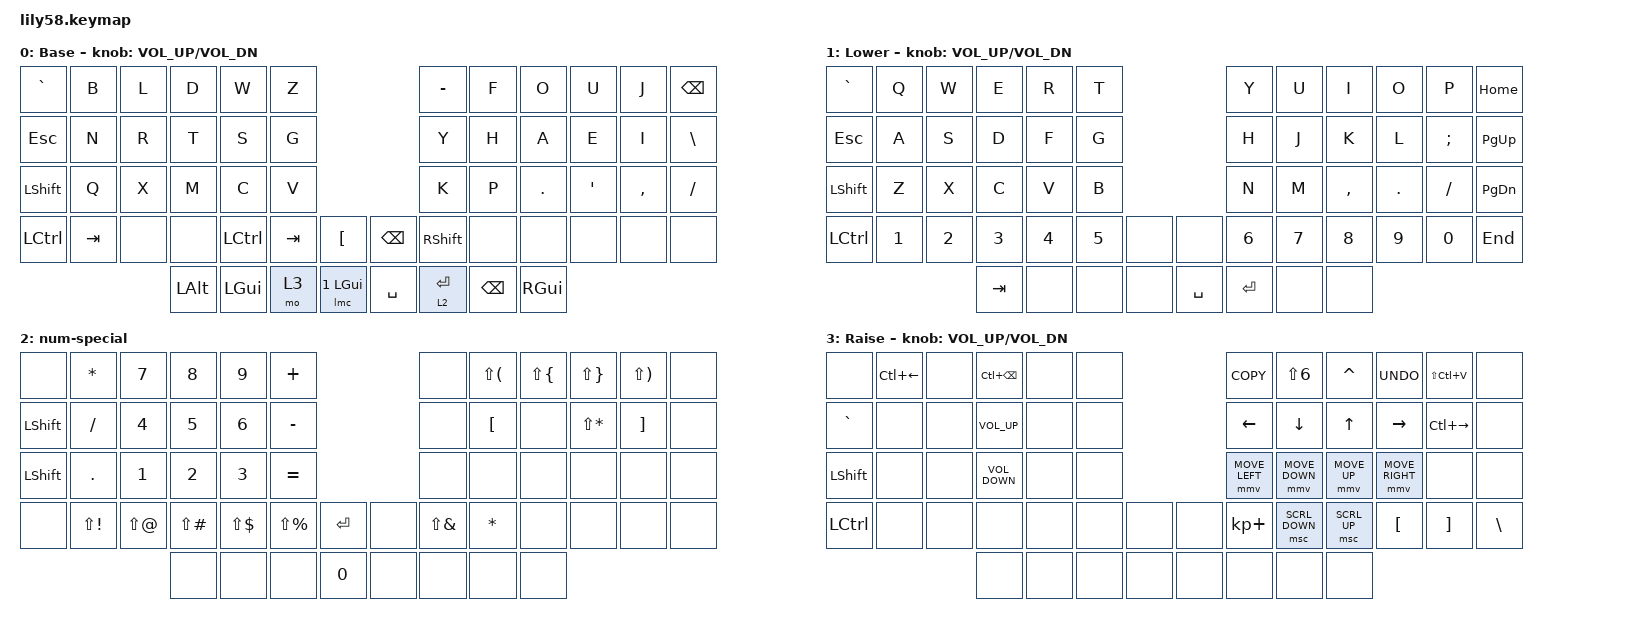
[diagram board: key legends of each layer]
/*
 * Copyright (c) 2020 The ZMK Contributors
 *
 * SPDX-License-Identifier: MIT
 */

#include <behaviors.dtsi>
#include <dt-bindings/zmk/keys.h>
#include <dt-bindings/zmk/pointing.h>

/ {
    macros {
        LM: lm {
            compatible = "zmk,behavior-macro-two-param";
            wait-ms = <0>;
            tap-ms = <0>;
            #binding-cells = <2>;
            bindings =
                <&macro_param_1to1>,
                <&macro_press>,
                <&mo MACRO_PLACEHOLDER &macro_param_2to1>,
                <&macro_press>,
                <&kp MACRO_PLACEHOLDER>,
                <&macro_pause_for_release>,
                <&macro_param_2to1>,
                <&macro_release>,
                <&kp MACRO_PLACEHOLDER &macro_param_1to1>,
                <&macro_release>,
                <&mo MACRO_PLACEHOLDER>;
        };

        lmc: lmc {
            compatible = "zmk,behavior-macro-two-param";
            wait-ms = <0>;
            tap-ms = <0>;
            #binding-cells = <2>;
            bindings =
                <&macro_param_1to1>,
                <&macro_press>,
                <&mo MACRO_PLACEHOLDER &macro_param_2to1>,
                <&macro_press>,
                <&kp MACRO_PLACEHOLDER>,
                <&macro_pause_for_release>,
                <&macro_param_2to1>,
                <&macro_release>,
                <&kp MACRO_PLACEHOLDER &macro_param_1to1>,
                <&macro_release>,
                <&mo MACRO_PLACEHOLDER>;
        };
    };
};

/ {
    combos {
        compatible = "zmk,combos";

        colon {
            bindings = <&kp COLON>;
            key-positions = <32 33>;
        };

        semicolon {
            bindings = <&kp SEMICOLON>;
            key-positions = <32 34>;
        };
    };

    keymap {
        compatible = "zmk,keymap";

        base {
            // ------------------------------------------------------------------------------------------------------------
            // |  ESC  |  1  |  2  |  3   |  4   |  5   |                   |  6   |  7    |  8    |  9   |   0   |   `   |
            // |  TAB  |  Q  |  W  |  E   |  R   |  T   |                   |  Y   |  U    |  I    |  O   |   P   |   -   |
            // |  CTRL |  A  |  S  |  D   |  F   |  G   |                   |  H   |  J    |  K    |  L   |   ;   |   '   |
            // | SHIFT |  Z  |  X  |  C   |  V   |  B   |   "["  |  |  "]"  |  N   |  M    |  ,    |  .   |   /   | SHIFT |
            //                     | ALT  | GUI  | LOWER|  SPACE |  | ENTER | RAISE| BSPC  | GUI   |

            display-name = "Base";
            bindings = <
&kp GRAVE       &kp B    &kp L  &kp D     &kp W             &kp Z                                      &kp MINUS        &kp F     &kp O       &kp U    &kp J      &kp BACKSPACE
&kp ESCAPE      &kp N    &kp R  &kp T     &kp S             &kp G                                      &kp Y            &kp H     &kp A       &kp E    &kp I      &kp BACKSLASH
&kp LEFT_SHIFT  &kp Q    &kp X  &kp M     &kp C             &kp V                                      &kp K            &kp P     &kp PERIOD  &kp SQT  &kp COMMA  &kp SLASH
&kp LCTRL       &kp TAB  &none  &none     &kp LEFT_CONTROL  &kp TAB  &kp LBKT           &kp BACKSPACE  &kp RIGHT_SHIFT  &none     &none       &none    &none      &none
                                &kp LALT  &kp LGUI          &mo 3    &lmc 1 LEFT_GUI    &kp SPACE      &lt 2 ENTER      &kp BSPC  &kp RGUI
            >;

            sensor-bindings = <&inc_dec_kp C_VOL_UP C_VOL_DN>;
        };

        qwerty {
            // ------------------------------------------------------------------------------------------------------------
            // | BTCLR | BT1 | BT2 |  BT3 |  BT4 |  BT5 |                   |      |       |       |      |       |       |
            // |  F1   |  F2 |  F3 |  F4  |  F5  |  F6  |                   |  F7  |  F8   |  F9   |  F10 |  F11  |  F12  |
            // |   `   |  !  |  @  |  #   |  $   |  %   |                   |  ^   |  &    |  *    |  (   |   )   |   ~   |
            // |       |     |     |      |      |      |        |  |       |      |  _    |  +    |  {   |   }   |  "|"  |
            //                     |      |      |      |        |  |       |      |       |       |

            display-name = "Lower";
            bindings = <
&kp GRAVE         &kp Q         &kp W         &kp E         &kp R         &kp T                             &kp Y         &kp U         &kp I         &kp O         &kp P          &kp HOME
&kp ESCAPE        &kp A         &kp S         &kp D         &kp F         &kp G                             &kp H         &kp J         &kp K         &kp L         &kp SEMICOLON  &kp PAGE_UP
&kp LEFT_SHIFT    &kp Z         &kp X         &kp C         &kp V         &kp B                             &kp N         &kp M         &kp COMMA     &kp PERIOD    &kp SLASH      &kp PAGE_DOWN
&kp LEFT_CONTROL  &kp NUMBER_1  &kp NUMBER_2  &kp NUMBER_3  &kp NUMBER_4  &kp NUMBER_5  &none    &none      &kp NUMBER_6  &kp NUMBER_7  &kp NUMBER_8  &kp NUMBER_9  &kp NUMBER_0   &kp END
                                              &kp TAB       &none         &none         &none    &kp SPACE  &kp RETURN    &none         &none
            >;

            sensor-bindings = <&inc_dec_kp C_VOL_UP C_VOL_DN>;
        };

        num-special {
            bindings = <
&none           &kp STAR      &kp N7      &kp N8         &kp N9        &kp PLUS                         &none         &kp LS(LPAR)      &kp LS(LBRC)  &kp LS(RBRC)  &kp LS(RPAR)       &none
&kp LEFT_SHIFT  &kp FSLH      &kp N4      &kp N5         &kp N6        &kp MINUS                        &none         &kp LEFT_BRACKET  &none         &kp LS(STAR)  &kp RIGHT_BRACKET  &none
&kp LEFT_SHIFT  &kp DOT       &kp N1      &kp N2         &kp N3        &kp EQUAL                        &none         &none             &none         &none         &none              &none
&none           &kp LS(EXCL)  &kp LS(AT)  &kp LS(POUND)  &kp LS(DLLR)  &kp LS(PRCNT)  &kp RET    &none  &kp LS(AMPS)  &kp ASTRK         &none         &none         &none              &none
                                          &none          &none         &none          &kp N0     &none  &none         &none             &none
            >;
        };

        nav {
            // ------------------------------------------------------------------------------------------------------------
            // |       |     |     |      |      |      |                   |      |       |       |      |       |       |
            // |   `   |  1  |  2  |  3   |  4   |  5   |                   |  6   |   7   |   8   |  9   |   0   |       |
            // |   F1  |  F2 |  F3 |  F4  |  F5  |  F6  |                   |      |   <-  |   v   |  ^   |  ->   |       |
            // |   F7  |  F8 |  F9 |  F10 |  F11 |  F12 |        |  |       |  +   |   -   |   =   |  [   |   ]   |   \   |
            //                     |      |      |      |        |  |       |      |       |       |

            display-name = "Raise";
            bindings = <
&none             &kp LC(LEFT)  &none  &kp LC(BACKSPACE)  &none  &none                  &kp K_COPY      &kp LS(NUMBER_6)  &kp CARET     &kp K_UNDO       &kp LS(LC(V))  &none
&kp GRAVE         &none         &none  &kp C_VOLUME_UP    &none  &none                  &kp LEFT        &kp DOWN          &kp UP_ARROW  &kp RIGHT        &kp LC(RIGHT)  &none
&kp LEFT_SHIFT    &none         &none  &kp C_VOLUME_DOWN  &none  &none                  &mmv MOVE_LEFT  &mmv MOVE_DOWN    &mmv MOVE_UP  &mmv MOVE_RIGHT  &none          &none
&kp LEFT_CONTROL  &none         &none  &none              &none  &none  &none    &none  &kp KP_PLUS     &msc SCRL_DOWN    &msc SCRL_UP  &kp LBKT         &kp RBKT       &kp BSLH
                                       &none              &none  &none  &none    &none  &none           &none             &none
            >;

            sensor-bindings = <&inc_dec_kp C_VOL_UP C_VOL_DN>;
        };
    };
};
